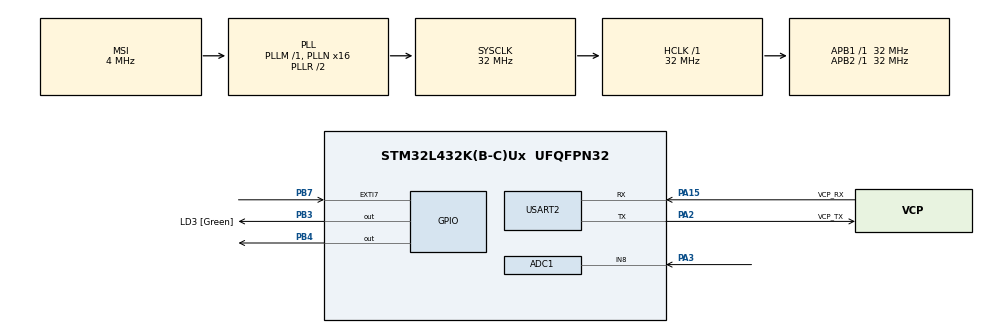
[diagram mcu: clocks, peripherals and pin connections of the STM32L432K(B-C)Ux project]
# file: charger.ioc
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ADC1.Channel-0\#ChannelRegularConversion=ADC_CHANNEL_8
ADC1.NbrOfConversionFlag=1
ADC1.OffsetNumber-0\#ChannelRegularConversion=ADC_OFFSET_NONE
ADC1.Rank-0\#ChannelRegularConversion=1
ADC1.SamplingTime-0\#ChannelRegularConversion=ADC_SAMPLETIME_2CYCLES_5
ADC1.master=1
Mcu.Family=STM32L4
Mcu.Name=STM32L432K(B-C)Ux
Mcu.Package=UFQFPN32
NVIC.ADC1_IRQn=true\:0\:0\:false\:false\:true\:true\:true\:true
NVIC.EXTI9_5_IRQn=true\:0\:0\:false\:false\:true\:true\:true\:true
NVIC.PriorityGroup=NVIC_PRIORITYGROUP_4
NVIC.TIM2_IRQn=true\:0\:0\:false\:false\:true\:true\:true\:true
PA0.GPIO_Label=MCO [High speed clock in]
PA0.Mode=HSE-External-Clock-Source-for-LittleOrca
PA0.Signal=RCC_CK_IN
PA13\ (JTMS-SWDIO).GPIO_Label=SWDIO
PA13\ (JTMS-SWDIO).Mode=Serial_Wire
PA13\ (JTMS-SWDIO).Signal=SYS_JTMS-SWDIO
PA14\ (JTCK-SWCLK).GPIO_Label=SWCLK
PA14\ (JTCK-SWCLK).Mode=Serial_Wire
PA14\ (JTCK-SWCLK).Signal=SYS_JTCK-SWCLK
PA15\ (JTDI).GPIO_Label=VCP_RX
PA15\ (JTDI).Mode=Asynchronous
PA15\ (JTDI).Signal=USART2_RX
PA2.GPIO_Label=VCP_TX
PA2.Mode=Asynchronous
PA2.Signal=USART2_TX
PA3.Signal=ADCx_IN8
PB3\ (JTDO-TRACESWO).GPIO_Label=LD3 [Green]
PB3\ (JTDO-TRACESWO).Signal=GPIO_Output
PB4\ (NJTRST).Signal=GPIO_Output
PB7.Signal=GPXTI7
PC14-OSC32_IN\ (PC14).Mode=LSE-External-Oscillator
PC14-OSC32_IN\ (PC14).Signal=RCC_OSC32_IN
PC15-OSC32_OUT\ (PC15).Mode=LSE-External-Oscillator
PC15-OSC32_OUT\ (PC15).Signal=RCC_OSC32_OUT
ProjectManager.HeapSize=0x200
ProjectManager.StackSize=0x400
ProjectManager.TargetToolchain=Makefile
RCC.ADCFreq_Value=32000000
RCC.AHBFreq_Value=32000000
RCC.APB1Freq_Value=32000000
RCC.APB1TimFreq_Value=32000000
RCC.APB2Freq_Value=32000000
RCC.APB2TimFreq_Value=32000000
RCC.CortexFreq_Value=32000000
RCC.HCLKFreq_Value=32000000
RCC.HSE_VALUE=8000000
RCC.HSI16_VALUE=16000000
RCC.HSI48_VALUE=48000000
RCC.HSI_VALUE=16000000
RCC.MSI_VALUE=4000000
RCC.PLLMUL=RCC_PLLMUL_4
RCC.PLLN=16
RCC.PLLSAI1N=16
RCC.SYSCLKFreq_VALUE=32000000
RCC.SYSCLKSource=RCC_SYSCLKSOURCE_PLLCLK
RCC.USBFreq_Value=32000000
RCC.VCOOutputFreq_Value=64000000
SH.ADCx_IN8.0=ADC1_IN8,IN8-Single-Ended
TIM2.Period=50
USART2.VirtualMode-Asynchronous=VM_ASYNC
VP_TIM2_VS_ClockSourceINT.Mode=Internal
board=NUCLEO-L432KC

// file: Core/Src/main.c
/* USER CODE BEGIN Header */
/**
  ******************************************************************************
  * @file           : main.c
  * @brief          : Main program body
  ******************************************************************************
  * @attention
  *
  * Copyright (c) 2022 STMicroelectronics.
  * All rights reserved.
  *
  * This software is licensed under terms that can be found in the LICENSE file
  * in the root directory of this software component.
  * If no LICENSE file comes with this software, it is provided AS-IS.
  *
  ******************************************************************************
  */
/* USER CODE END Header */
#include "main.h"

/* USER CODE BEGIN PD */
#define LENGTH 10
/* USER CODE END PD */

ADC_HandleTypeDef hadc1;

TIM_HandleTypeDef htim2;

UART_HandleTypeDef huart2;

/* USER CODE BEGIN PV */
int count = 0;
typedef enum {false, true} bool;
bool state = true;
uint32_t value;
uint16_t time;
char msg[LENGTH];
char str_time[LENGTH];
/* USER CODE END PV */

void SystemClock_Config(void);
static void MX_GPIO_Init(void);
static void MX_USART2_UART_Init(void);
static void MX_TIM2_Init(void);
static void MX_ADC1_Init(void);

/* USER CODE BEGIN 0 */
void HAL_GPIO_EXTI_Callback(uint16_t GPIO_Pin)
{
  if(GPIO_Pin == GPIO_PIN_7 && state == true){
	HAL_TIM_Base_Start_IT(&htim2);
	state = false;

  }

}

void HAL_TIM_PeriodElapsedCallback(TIM_HandleTypeDef *htim)
{
  /* Prevent unused argument(s) compilation warning */
  UNUSED(htim);

  /* NOTE : This function should not be modified, when the callback is needed,
            the HAL_TIM_PeriodElapsedCallback could be implemented in the user file
   */

		if(HAL_GPIO_ReadPin(GPIOB, GPIO_PIN_4) == GPIO_PIN_SET){
      HAL_GPIO_WritePin(GPIOB,GPIO_PIN_4, GPIO_PIN_RESET);
    }else{
      HAL_GPIO_WritePin(GPIOB,GPIO_PIN_4, GPIO_PIN_SET);
    }
		state = true;
		HAL_TIM_Base_Stop_IT(&htim2);

}
/* USER CODE END 0 */

int main(void)
{

  /* MCU Configuration--------------------------------------------------------*/

  /* Reset of all peripherals, Initializes the Flash interface and the Systick. */
  HAL_Init();

  /* Configure the system clock */
  SystemClock_Config();

  /* Initialize all configured peripherals */
  MX_GPIO_Init();
  MX_USART2_UART_Init();
  MX_TIM2_Init();
  MX_ADC1_Init();

  /* Infinite loop */
  /* USER CODE BEGIN WHILE */
  while (1)
  {
    HAL_ADC_Start(&hadc1);
    HAL_ADC_PollForConversion(&hadc1, HAL_MAX_DELAY);
    value = HAL_ADC_GetValue(&hadc1);
    time = HAL_GetTick();

    // Convert to string and print
    sprintf(str_time, "%u\t", time);
    sprintf(msg, "%li\r\n", value);

    HAL_UART_Transmit(&huart2,  (uint8_t*)str_time, strlen(str_time), HAL_MAX_DELAY);
    HAL_UART_Transmit(&huart2, (uint8_t*)msg, strlen(msg), HAL_MAX_DELAY);

    HAL_Delay(1);

    /* USER CODE END WHILE */

  }
}

void SystemClock_Config(void)
{
  RCC_OscInitTypeDef RCC_OscInitStruct = {0};
  RCC_ClkInitTypeDef RCC_ClkInitStruct = {0};

  /** Configure the main internal regulator output voltage
  */
  if (HAL_PWREx_ControlVoltageScaling(PWR_REGULATOR_VOLTAGE_SCALE1) != HAL_OK)
  {
    Error_Handler();
  }

  /** Configure LSE Drive Capability
  */
  HAL_PWR_EnableBkUpAccess();
  __HAL_RCC_LSEDRIVE_CONFIG(RCC_LSEDRIVE_LOW);

  /** Initializes the RCC Oscillators according to the specified parameters
  * in the RCC_OscInitTypeDef structure.
  */
  RCC_OscInitStruct.OscillatorType = RCC_OSCILLATORTYPE_LSE|RCC_OSCILLATORTYPE_MSI;
  RCC_OscInitStruct.LSEState = RCC_LSE_ON;
  RCC_OscInitStruct.MSIState = RCC_MSI_ON;
  RCC_OscInitStruct.MSICalibrationValue = 0;
  RCC_OscInitStruct.MSIClockRange = RCC_MSIRANGE_6;
  RCC_OscInitStruct.PLL.PLLState = RCC_PLL_ON;
  RCC_OscInitStruct.PLL.PLLSource = RCC_PLLSOURCE_MSI;
  RCC_OscInitStruct.PLL.PLLM = 1;
  RCC_OscInitStruct.PLL.PLLN = 16;
  RCC_OscInitStruct.PLL.PLLP = RCC_PLLP_DIV7;
  RCC_OscInitStruct.PLL.PLLQ = RCC_PLLQ_DIV2;
  RCC_OscInitStruct.PLL.PLLR = RCC_PLLR_DIV2;
  if (HAL_RCC_OscConfig(&RCC_OscInitStruct) != HAL_OK)
  {
    Error_Handler();
  }

  /** Initializes the CPU, AHB and APB buses clocks
  */
  RCC_ClkInitStruct.ClockType = RCC_CLOCKTYPE_HCLK|RCC_CLOCKTYPE_SYSCLK
                              |RCC_CLOCKTYPE_PCLK1|RCC_CLOCKTYPE_PCLK2;
  RCC_ClkInitStruct.SYSCLKSource = RCC_SYSCLKSOURCE_PLLCLK;
  RCC_ClkInitStruct.AHBCLKDivider = RCC_SYSCLK_DIV1;
  RCC_ClkInitStruct.APB1CLKDivider = RCC_HCLK_DIV1;
  RCC_ClkInitStruct.APB2CLKDivider = RCC_HCLK_DIV1;

  if (HAL_RCC_ClockConfig(&RCC_ClkInitStruct, FLASH_LATENCY_1) != HAL_OK)
  {
    Error_Handler();
  }

  /** Enable MSI Auto calibration
  */
  HAL_RCCEx_EnableMSIPLLMode();
}

static void MX_ADC1_Init(void)
{

  ADC_ChannelConfTypeDef sConfig = {0};

  /** Common config
  */
  hadc1.Instance = ADC1;
  hadc1.Init.ClockPrescaler = ADC_CLOCK_ASYNC_DIV1;
  hadc1.Init.Resolution = ADC_RESOLUTION_12B;
  hadc1.Init.DataAlign = ADC_DATAALIGN_RIGHT;
  hadc1.Init.ScanConvMode = ADC_SCAN_DISABLE;
  hadc1.Init.EOCSelection = ADC_EOC_SINGLE_CONV;
  hadc1.Init.LowPowerAutoWait = DISABLE;
  hadc1.Init.ContinuousConvMode = DISABLE;
  hadc1.Init.NbrOfConversion = 1;
  hadc1.Init.DiscontinuousConvMode = DISABLE;
  hadc1.Init.ExternalTrigConv = ADC_SOFTWARE_START;
  hadc1.Init.ExternalTrigConvEdge = ADC_EXTERNALTRIGCONVEDGE_NONE;
  hadc1.Init.DMAContinuousRequests = DISABLE;
  hadc1.Init.Overrun = ADC_OVR_DATA_PRESERVED;
  hadc1.Init.OversamplingMode = DISABLE;
  if (HAL_ADC_Init(&hadc1) != HAL_OK)
  {
    Error_Handler();
  }

  /** Configure Regular Channel
  */
  sConfig.Channel = ADC_CHANNEL_8;
  sConfig.Rank = ADC_REGULAR_RANK_1;
  sConfig.SamplingTime = ADC_SAMPLETIME_2CYCLES_5;
  sConfig.SingleDiff = ADC_SINGLE_ENDED;
  sConfig.OffsetNumber = ADC_OFFSET_NONE;
  sConfig.Offset = 0;
  if (HAL_ADC_ConfigChannel(&hadc1, &sConfig) != HAL_OK)
  {
    Error_Handler();
  }

}

static void MX_TIM2_Init(void)
{

  TIM_ClockConfigTypeDef sClockSourceConfig = {0};
  TIM_MasterConfigTypeDef sMasterConfig = {0};

  htim2.Instance = TIM2;
  htim2.Init.Prescaler = 0;
  htim2.Init.CounterMode = TIM_COUNTERMODE_UP;
  htim2.Init.Period = 50;
  htim2.Init.ClockDivision = TIM_CLOCKDIVISION_DIV1;
  htim2.Init.AutoReloadPreload = TIM_AUTORELOAD_PRELOAD_DISABLE;
  if (HAL_TIM_Base_Init(&htim2) != HAL_OK)
  {
    Error_Handler();
  }
  sClockSourceConfig.ClockSource = TIM_CLOCKSOURCE_INTERNAL;
  if (HAL_TIM_ConfigClockSource(&htim2, &sClockSourceConfig) != HAL_OK)
  {
    Error_Handler();
  }
  sMasterConfig.MasterOutputTrigger = TIM_TRGO_RESET;
  sMasterConfig.MasterSlaveMode = TIM_MASTERSLAVEMODE_DISABLE;
  if (HAL_TIMEx_MasterConfigSynchronization(&htim2, &sMasterConfig) != HAL_OK)
  {
    Error_Handler();
  }

}

static void MX_USART2_UART_Init(void)
{

  huart2.Instance = USART2;
  huart2.Init.BaudRate = 115200;
  huart2.Init.WordLength = UART_WORDLENGTH_8B;
  huart2.Init.StopBits = UART_STOPBITS_1;
  huart2.Init.Parity = UART_PARITY_NONE;
  huart2.Init.Mode = UART_MODE_TX_RX;
  huart2.Init.HwFlowCtl = UART_HWCONTROL_NONE;
  huart2.Init.OverSampling = UART_OVERSAMPLING_16;
  huart2.Init.OneBitSampling = UART_ONE_BIT_SAMPLE_DISABLE;
  huart2.AdvancedInit.AdvFeatureInit = UART_ADVFEATURE_NO_INIT;
  if (HAL_UART_Init(&huart2) != HAL_OK)
  {
    Error_Handler();
  }

}

static void MX_GPIO_Init(void)
{
  GPIO_InitTypeDef GPIO_InitStruct = {0};

  /* GPIO Ports Clock Enable */
  __HAL_RCC_GPIOC_CLK_ENABLE();
  __HAL_RCC_GPIOA_CLK_ENABLE();
  __HAL_RCC_GPIOB_CLK_ENABLE();

  /*Configure GPIO pin Output Level */
  HAL_GPIO_WritePin(GPIOB, LD3_Pin|GPIO_PIN_4, GPIO_PIN_RESET);

  /*Configure GPIO pins : LD3_Pin PB4 */
  GPIO_InitStruct.Pin = LD3_Pin|GPIO_PIN_4;
  GPIO_InitStruct.Mode = GPIO_MODE_OUTPUT_PP;
  GPIO_InitStruct.Pull = GPIO_NOPULL;
  GPIO_InitStruct.Speed = GPIO_SPEED_FREQ_LOW;
  HAL_GPIO_Init(GPIOB, &GPIO_InitStruct);

  /*Configure GPIO pin : PB7 */
  GPIO_InitStruct.Pin = GPIO_PIN_7;
  GPIO_InitStruct.Mode = GPIO_MODE_IT_RISING;
  GPIO_InitStruct.Pull = GPIO_NOPULL;
  HAL_GPIO_Init(GPIOB, &GPIO_InitStruct);

  /* EXTI interrupt init*/
  HAL_NVIC_SetPriority(EXTI9_5_IRQn, 0, 0);
  HAL_NVIC_EnableIRQ(EXTI9_5_IRQn);

}

void Error_Handler(void)
{
  __disable_irq();
  while (1)
  {
  }
}
